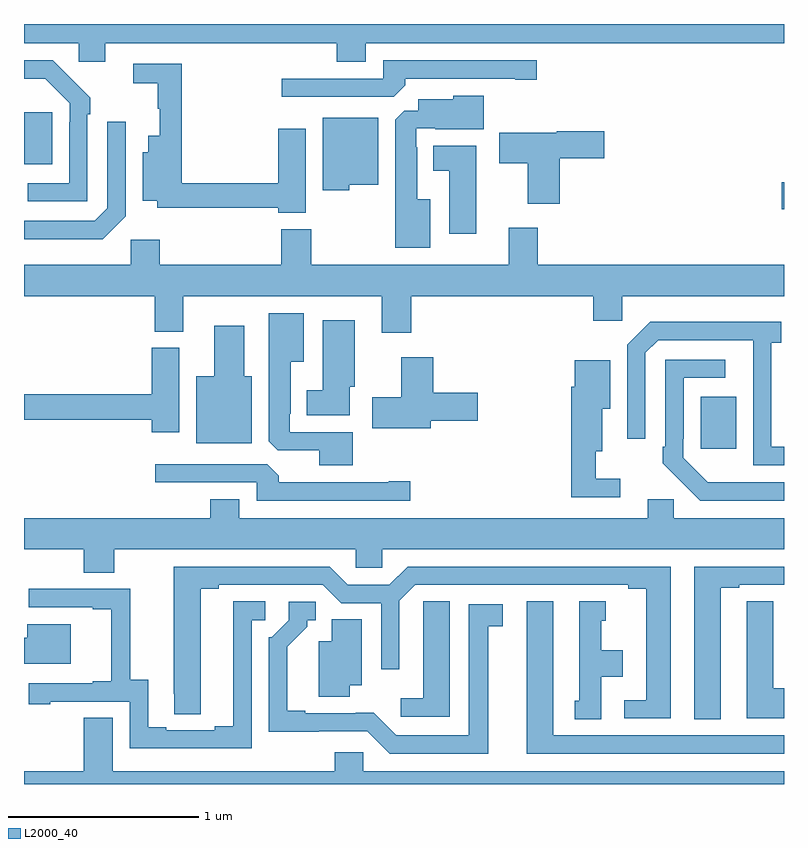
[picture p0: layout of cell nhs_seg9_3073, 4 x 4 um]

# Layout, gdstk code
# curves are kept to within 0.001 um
import gdstk
lib = gdstk.Library(unit=1e-6, precision=1e-09)
def R(c, l, rs):  # rectangles x0, y0, x1, y1
    for r in rs: c.add(gdstk.rectangle(r[:2], r[2:], *l))
def P(c, l, *ps):  # polygons
    for p in ps: c.add(gdstk.Polygon(p, *l))
L2000_40 = (2000, 40)

nhs_seg9_3073 = lib.new_cell('nhs_seg9_3073')
R(nhs_seg9_3073, L2000_40, [(290.561,1214.265,290.749,1214.539), (290.988,1215.526,291,1215.668), (287,1215.761,287.149,1216.036)])
P(nhs_seg9_3073, L2000_40, [(288.799,1216.4),(291,1216.4),(291,1216.5),(287,1216.5),(287,1216.4),(287.289,1216.4),(287.289,1216.302),(287.428,1216.302),(287.428,1216.4),(288.647,1216.4),(288.647,1216.301),(288.799,1216.301)],
  [(287.334,1216.025),(287.349,1216.025),(287.349,1216.113),(287.152,1216.308),(287,1216.308),(287,1216.212),(287.113,1216.212),(287.241,1216.083),(287.241,1215.983),(287.238,1215.983),(287.238,1215.663),(287.019,1215.663),(287.019,1215.567),(287.334,1215.567)],
  [(289.007,1216.178),(289.007,1216.212),(289.586,1216.212),(289.586,1216.207),(289.699,1216.207),(289.699,1216.308),(288.891,1216.308),(288.891,1216.212),(288.357,1216.212),(288.357,1216.116),(288.945,1216.116)],
  [(288.484,1215.949),(288.338,1215.949),(288.338,1215.662),(287.831,1215.662),(287.831,1216.29),(287.574,1216.29),(287.574,1216.189),(287.703,1216.189),(287.703,1216.053),(287.714,1216.053),(287.714,1215.913),(287.654,1215.913),(287.654,1215.826),(287.624,1215.826),(287.624,1215.569),(287.7,1215.569),(287.7,1215.534),(288.338,1215.534),(288.338,1215.506),(288.484,1215.506)],
  [(289.138,1215.577),(289.069,1215.577),(289.069,1215.851),(289.065,1215.851),(289.065,1215.951),(289.165,1215.951),(289.165,1215.947),(289.42,1215.947),(289.42,1216.123),(289.26,1216.123),(289.26,1216.105),(289.076,1216.105),(289.076,1216.044),(289.002,1216.044),(288.953,1215.995),(288.953,1215.323),(289.138,1215.323)],
  [(288.711,1215.653),(288.865,1215.653),(288.865,1216.006),(288.572,1216.006),(288.572,1215.626),(288.711,1215.626)],
  [(287.535,1215.489),(287.535,1215.985),(287.439,1215.985),(287.439,1215.531),(287.373,1215.465),(287,1215.465),(287,1215.368),(287.414,1215.368)],
  [(289.82,1215.794),(290.053,1215.794),(290.053,1215.936),(289.803,1215.936),(289.803,1215.928),(289.5,1215.928),(289.5,1215.766),(289.652,1215.766),(289.652,1215.555),(289.82,1215.555)],
  [(289.381,1215.859),(289.154,1215.859),(289.154,1215.728),(289.238,1215.728),(289.238,1215.396),(289.381,1215.396)],
  [(289.037,1215.068),(289.997,1215.068),(289.997,1214.937),(290.148,1214.937),(290.148,1215.068),(291,1215.068),(291,1215.232),(289.703,1215.232),(289.703,1215.427),(289.55,1215.427),(289.55,1215.232),(288.513,1215.232),(288.513,1215.421),(288.353,1215.421),(288.353,1215.232),(287.714,1215.232),(287.714,1215.364),(287.562,1215.364),(287.562,1215.232),(287,1215.232),(287,1215.068),(287.687,1215.068),(287.687,1214.881),(287.839,1214.881),(287.839,1215.068),(288.884,1215.068),(288.884,1214.874),(289.037,1214.874)],
  [(288.73,1214.352),(288.399,1214.352),(288.399,1214.449),(288.403,1214.449),(288.403,1214.723),(288.472,1214.723),(288.472,1214.977),(288.287,1214.977),(288.287,1214.305),(288.336,1214.256),(288.554,1214.256),(288.554,1214.177),(288.73,1214.177)],
  [(288.715,1214.592),(288.742,1214.592),(288.742,1214.941),(288.572,1214.941),(288.572,1214.572),(288.488,1214.572),(288.488,1214.441),(288.715,1214.441)],
  [(291,1214.274),(290.934,1214.274),(290.934,1214.822),(290.986,1214.822),(290.986,1214.932),(290.296,1214.932),(290.175,1214.811),(290.175,1214.316),(290.271,1214.316),(290.271,1214.769),(290.337,1214.835),(290.837,1214.835),(290.838,1214.178),(291,1214.178)],
  [(288.199,1214.647),(288.16,1214.647),(288.16,1214.911),(288.002,1214.911),(288.002,1214.647),(287.906,1214.647),(287.906,1214.294),(288.199,1214.294)],
  [(287.818,1214.796),(287.672,1214.796),(287.672,1214.552),(287,1214.552),(287,1214.416),(287.672,1214.416),(287.672,1214.352),(287.818,1214.352)],
  [(289.141,1214.411),(289.387,1214.411),(289.387,1214.558),(289.154,1214.558),(289.154,1214.746),(288.986,1214.746),(288.986,1214.535),(288.834,1214.535),(288.834,1214.372),(289.141,1214.372)],
  [(291,1214.088),(290.598,1214.089),(290.469,1214.217),(290.469,1214.317),(290.472,1214.317),(290.472,1214.637),(290.692,1214.637),(290.692,1214.733),(290.376,1214.733),(290.376,1214.275),(290.361,1214.275),(290.361,1214.187),(290.558,1213.992),(291,1213.992)],
  [(290.137,1214.107),(290.008,1214.107),(290.008,1214.252),(290.044,1214.252),(290.044,1214.474),(290.086,1214.474),(290.086,1214.731),(289.898,1214.731),(289.898,1214.592),(289.879,1214.592),(289.879,1214.01),(290.137,1214.01)],
  [(289.033,1214.093),(288.92,1214.093),(288.92,1214.088),(288.341,1214.088),(288.341,1214.122),(288.279,1214.184),(287.691,1214.184),(287.691,1214.088),(288.225,1214.088),(288.225,1213.992),(289.033,1213.992)],
  [(287.475,1213.736),(288.747,1213.736),(288.747,1213.638),(288.885,1213.638),(288.885,1213.736),(291,1213.736),(291,1213.9),(290.421,1213.9),(290.421,1213.998),(290.282,1213.998),(290.282,1213.9),(288.133,1213.9),(288.133,1213.999),(287.981,1213.999),(287.981,1213.9),(287,1213.9),(287,1213.736),(287.315,1213.736),(287.315,1213.612),(287.475,1213.612)],
  [(290.668,1213.533),(290.764,1213.533),(290.764,1213.548),(291,1213.548),(291,1213.644),(290.528,1213.644),(290.528,1212.841),(290.668,1212.841)],
  [(290.404,1213.644),(289.019,1213.644),(288.923,1213.548),(288.705,1213.548),(288.609,1213.644),(287.789,1213.644),(287.79,1212.868),(287.929,1212.868),(287.929,1213.528),(288.025,1213.528),(288.025,1213.548),(288.573,1213.548),(288.669,1213.452),(288.879,1213.452),(288.879,1213.104),(288.975,1213.104),(288.975,1213.464),(289.059,1213.548),(290.18,1213.548),(290.18,1213.528),(290.276,1213.528),(290.276,1212.942),(290.16,1212.942),(290.16,1212.846),(290.404,1212.846)],
  [(288.198,1213.362),(288.271,1213.362),(288.271,1213.463),(288.101,1213.463),(288.101,1212.803),(288.005,1212.803),(288.005,1212.783),(287.749,1212.783),(287.749,1212.798),(287.653,1212.798),(287.653,1213.049),(287.559,1213.049),(287.559,1213.527),(287.025,1213.527),(287.025,1213.431),(287.363,1213.431),(287.363,1213.419),(287.459,1213.419),(287.459,1213.042),(287.363,1213.042),(287.363,1213.029),(287.025,1213.029),(287.025,1212.921),(287.137,1212.921),(287.137,1212.933),(287.556,1212.933),(287.556,1212.687),(288.198,1212.687)],
  [(289.24,1213.463),(289.101,1213.463),(289.101,1213.355),(289.1,1213.355),(289.1,1212.952),(288.984,1212.952),(288.984,1212.855),(289.24,1212.855)],
  [(291,1213.005),(290.944,1213.005),(290.944,1213.463),(290.805,1213.463),(290.805,1213.355),(290.804,1213.355),(290.804,1212.845),(291,1212.845)],
  [(291,1212.756),(289.786,1212.756),(289.786,1213.462),(289.646,1213.462),(289.646,1212.66),(291,1212.66)],
  [(290.038,1213.064),(290.152,1213.064),(290.152,1213.204),(290.038,1213.204),(290.038,1213.359),(290.062,1213.359),(290.062,1213.462),(289.922,1213.462),(289.922,1212.939),(289.898,1212.939),(289.898,1212.841),(290.038,1212.841)],
  [(289.444,1213.33),(289.519,1213.33),(289.519,1213.446),(289.34,1213.446),(289.34,1212.756),(288.96,1212.756),(288.842,1212.874),(288.481,1212.873),(288.481,1212.886),(288.385,1212.886),(288.385,1213.222),(288.49,1213.327),(288.49,1213.362),(288.535,1213.362),(288.535,1213.458),(288.393,1213.458),(288.393,1213.362),(288.303,1213.272),(288.288,1213.272),(288.288,1212.776),(288.807,1212.777),(288.924,1212.66),(289.444,1212.66)],
  [(288.715,1213.019),(288.778,1213.019),(288.778,1213.367),(288.62,1213.367),(288.62,1213.252),(288.551,1213.252),(288.551,1212.958),(288.715,1212.958)],
  [(287.245,1213.342),(287.018,1213.342),(287.018,1213.27),(287,1213.27),(287,1213.133),(287.245,1213.133)],
  [(291,1212.568),(288.786,1212.568),(288.786,1212.666),(288.635,1212.666),(288.635,1212.568),(287.467,1212.568),(287.467,1212.848),(287.315,1212.848),(287.315,1212.568),(287,1212.568),(287,1212.5),(291,1212.5)])

lib.write_gds('nhs_seg9_3073.gds')
